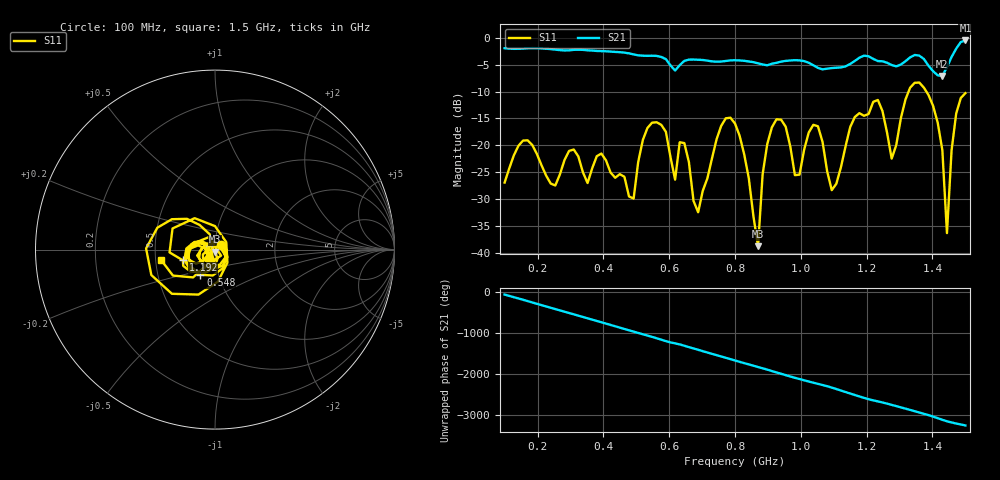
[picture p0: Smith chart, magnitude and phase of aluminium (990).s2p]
! NanoVNA-App
! Date: 2025-09-25 15:02:59
! Start: 100MHz Stop: 1,5GHz Points: 101
! S-Parameter data: F S11 S21 S12 S22
# Hz S RI R 50
!  Frequency  S11_Real  S11_Imag  S21_Real  S21_Imag  S12_Real  S12_Imag  S22_Real  S22_Imag
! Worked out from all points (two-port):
!   101 points, 100 MHz to 1.5 GHz, reference 50 ohm
!   highest |S21| = -0.47 dB at 1.5 GHz (marker M1); lowest = -7.1 dB at 1.43 GHz (marker M2)
!   |S21| within 3 dB of the highest: start of sweep to 570.7 MHz; 1.459 GHz to end of sweep (the widest 2 of 4)
!   lowest |S11| = -38.8 dB at 870 MHz (marker M3), VSWR 1.02, Z = 50.2 - j1.13 ohm
!   |S11| at or under -10 dB: start of sweep to 1.327 GHz; 1.381 GHz to end of sweep
!   S12 and S22 are empty: the file has one direction only
!   S11 on the Smith chart (normalised r, x): 100 MHz: 1.07, +0.06; 548 MHz: 0.82, -0.24; 1.192 GHz: 0.69, -0.08; 1.5 GHz: 0.53, -0.07
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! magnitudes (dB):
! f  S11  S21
! 100 MHz  -27.0  -1.9
! 156 MHz  -19.1  -2.0
! 338 MHz  -25.0  -2.2
! 492 MHz  -29.9  -3.1
! 548 MHz  -15.8  -3.3
! 576 MHz  -16.2  -3.5
! 646 MHz  -19.6  -4.3
! 688 MHz  -32.5  -4.1
! 800 MHz  -15.9  -4.2
! 870 MHz  -38.8  -4.7
! 912 MHz  -16.7  -4.8
! 982 MHz  -25.6  -4.1
! 1.038 GHz  -16.2  -5.1
! 1.094 GHz  -28.4  -5.6
! 1.192 GHz  -14.5  -3.3
! 1.234 GHz  -11.6  -4.3
! 1.276 GHz  -22.5  -5.1
! 1.346 GHz  -8.4  -3.2
! 1.43 GHz  -20.9  -7.1
! 1.444 GHz  -36.4  -5.4
! 1.472 GHz  -14.1  -2.0
! 1.5 GHz  -10.3  -0.5
